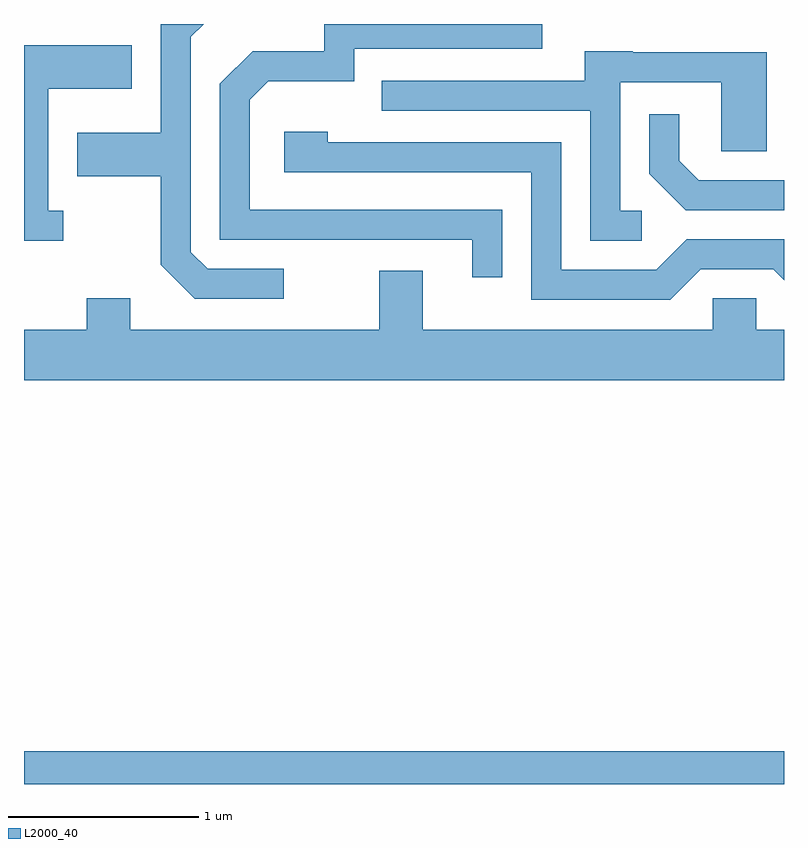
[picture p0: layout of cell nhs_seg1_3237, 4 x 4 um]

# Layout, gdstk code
import gdstk
lib = gdstk.Library(unit=1e-6, precision=1e-09)
def R(c, l, rs):  # rectangles x0, y0, x1, y1
    for r in rs: c.add(gdstk.rectangle(r[:2], r[2:], *l))
def P(c, l, *ps):  # polygons
    for p in ps: c.add(gdstk.Polygon(p, *l))
L2000_40 = (2000, 40)

nhs_seg1_3237 = lib.new_cell('nhs_seg1_3237')
R(nhs_seg1_3237, L2000_40, [(283.611,859.712,287.611,859.884)])
P(nhs_seg1_3237, L2000_40, [(284.978,862.424),(284.577,862.424),(284.489,862.512),(284.489,863.644),(284.558,863.712),(284.331,863.712),(284.331,863.139),(283.891,863.139),(283.891,862.911),(284.331,862.911),(284.331,862.444),(284.509,862.266),(284.978,862.266)],
  [(286.129,862.734),(284.799,862.734),(284.799,863.314),(284.897,863.411),(285.349,863.411),(285.349,863.581),(286.339,863.581),(286.339,863.712),(285.191,863.712),(285.191,863.569),(284.814,863.569),(284.641,863.397),(284.641,862.576),(285.971,862.576),(285.971,862.378),(286.129,862.378)],
  [(283.818,862.729),(283.739,862.729),(283.739,863.371),(284.179,863.371),(284.179,863.599),(283.611,863.599),(283.611,862.571),(283.818,862.571)],
  [(286.863,862.729),(286.749,862.729),(286.749,863.406),(287.281,863.406),(287.281,863.041),(287.519,863.041),(287.519,863.564),(286.815,863.564),(286.815,863.569),(286.561,863.569),(286.561,863.414),(285.493,863.414),(285.493,863.256),(286.591,863.256),(286.591,862.571),(286.863,862.571)],
  [(287.611,862.889),(287.162,862.889),(287.059,862.992),(287.059,863.238),(286.901,863.238),(286.901,862.924),(287.094,862.731),(287.611,862.731)],
  [(287.172,862.421),(287.554,862.421),(287.611,862.364),(287.611,862.579),(287.099,862.579),(286.939,862.419),(286.439,862.419),(286.439,863.089),(285.209,863.089),(285.209,863.144),(284.981,863.144),(284.981,862.931),(286.281,862.931),(286.281,862.261),(287.012,862.261)],
  [(287.611,862.104),(287.464,862.104),(287.464,862.269),(287.236,862.269),(287.236,862.104),(285.709,862.104),(285.709,862.414),(285.481,862.414),(285.481,862.104),(284.169,862.104),(284.169,862.269),(283.941,862.269),(283.941,862.104),(283.611,862.104),(283.611,861.836),(287.611,861.836)])

lib.write_gds('nhs_seg1_3237.gds')
